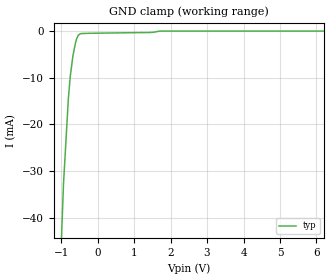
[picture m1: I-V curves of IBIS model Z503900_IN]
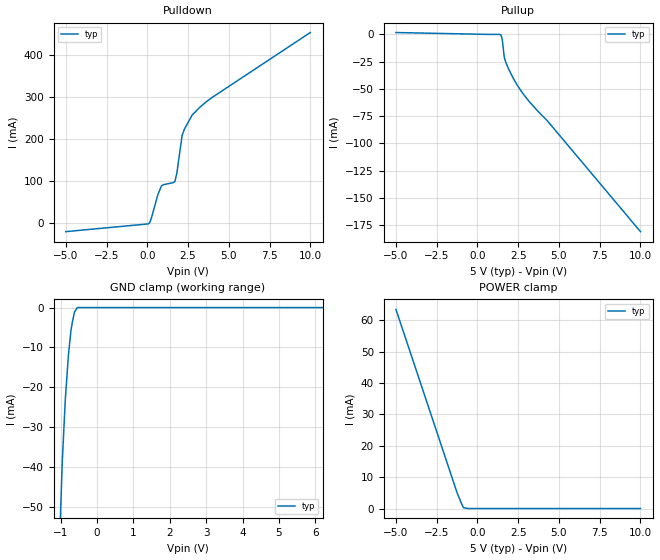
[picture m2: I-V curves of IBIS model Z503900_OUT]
| YOU ARE ONLY AUTHORIZED TO USE THIS SOFTWARE
| ACCORDING TO LICENSOR'S LICENSE RESTRICTIONS.
[IBIS Ver] 3.1
[File Name] mc54f02j.ibs
[File Rev] 2.0
[Source] Measured and created by ICX Technology
[Date] Friday 7/14/00 9:08:02 AM
[Copyright]
| (C) COPYRIGHT 1993-2000
| MENTOR GRAPHICS CORPORATION
| ICX STANDARD LIBRARY, ICX PROJECT MODELING,
| ICX CUSTOM MODELING, ICX VENDOR MODEL
| ALL RIGHTS RESERVED.
| THE FOLLOWING ARE TRADEMARKS OR SERVICE MARKS OF
| MENTOR GRAPHICS CORPORATION:ICX (R), ICX STANDARD
| LIBRARY(R), ICX PROJECT MODELING(R), ICX CUSTOM
| MODELING(R), qualityIBIS(TM), MODELVIEWER(TM),
| AND MODELEDITOR(TM)
| ALL COPIES OF SOFTWARE, INCLUDING BUT NOT LIMITED TO
| ANY MODIFICATIONS, ENHANCEMENTS OR DERIVATIVE WORKS,
| MUST CONTAIN ALL MENTOR GRAPHICS CORPORATION'S
| NOTICES AND LEGENDS, INCLUDING THOSE EMBEDDED IN
| SOFTWARE AND THOSE AFFIXED TO SOFTWARE MEDIUM
| AND CONTAINER, AS RECEIVED FROM MENTOR GRAPHICS
| CORPORATION.
|  ZAP Model Builder 2.7
[Component] MC54F02J
[Manufacturer] OnSemiconductor
[Package]
| variable   typ   min   max
R_pkg  .21ohms NA NA
L_pkg  4.543nH NA NA
C_pkg  1.8pF NA NA
[Pin] signal_name  model_name  R_pin  L_pin C_pin
1 Y Z503900_OUT .22 6.757n 2.434p
2 A Z503900_IN .212 4.757n 1.941p
3 B Z503900_IN .204 3.257n 1.448p
4 Y Z503900_OUT .196 2.257n .955p
5 A Z503900_IN .204 3.257n 1.448p
6 B Z503900_IN .212 4.757n 1.941p
7 GROUND GND .22 6.757n 2.434p
8 A Z503900_IN .22 6.757n 2.434p
9 B Z503900_IN .212 4.757n 1.941p
10 Y Z503900_OUT .204 3.257n 1.448p
11 A Z503900_IN .196 2.257n .955p
12 B Z503900_IN .204 3.257n 1.448p
13 Y Z503900_OUT .212 4.757n 1.941p
14 VCC POWER .22 6.757n 2.434p
| Models and submodels in the file (2): Z503900_IN (Input), Z503900_OUT (Output)
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| (C) COPYRIGHT 1993-2000
| MENTOR GRAPHICS CORPORATION
| ICX STANDARD LIBRARY, ICX PROJECT MODELING,
| ICX CUSTOM MODELING, ICX VENDOR MODEL
| ALL RIGHTS RESERVED.
| THE FOLLOWING ARE TRADEMARKS OR SERVICE MARKS OF
| MENTOR GRAPHICS CORPORATION:ICX (R), ICX STANDARD
| LIBRARY(R), ICX PROJECT MODELING(R), ICX CUSTOM
| MODELING(R), qualityIBIS(TM), MODELVIEWER(TM),
| AND MODELEDITOR(TM)
| ALL COPIES OF SOFTWARE, INCLUDING BUT NOT LIMITED TO
| ANY MODIFICATIONS, ENHANCEMENTS OR DERIVATIVE WORKS,
| MUST CONTAIN ALL MENTOR GRAPHICS CORPORATION'S
| NOTICES AND LEGENDS, INCLUDING THOSE EMBEDDED IN
| SOFTWARE AND THOSE AFFIXED TO SOFTWARE MEDIUM
| AND CONTAINER, AS RECEIVED FROM MENTOR GRAPHICS
| CORPORATION.
| Model Application Version 1.89 2/18/99.
[Model] Z503900_IN
Model_type Input
Vinl = 800.0mV
Vinh = 2.000V
C_comp 4.000pF NA NA
| variable typ   min   max
[Voltage Range] 5.000V NA NA
[GND Clamp Reference] 0.000V NA NA
[POWER Clamp Reference] 5.000V NA NA
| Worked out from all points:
|   GND clamp passes 1 mA (typ) near -0.53 V on its own axis
[GND Clamp]
-5V       -893.6mA   NA         NA
-934.9mV  -32.79mA   NA         NA
-802mV    -14.52mA   NA         NA
-749.9mV  -9.771mA   NA         NA
-677.1mV  -5.339mA   NA         NA
-604.5mV  -2.49mA    NA         NA
-575mV    -1.663mA   NA         NA
-523.9mV  -840.8uA   NA         NA
-463.2mV  -541.8uA   NA         NA
1.429V    -306.9uA   NA         NA
1.782V    -5.773uA   NA         NA
10V       -5.773uA   NA         NA
[POWER Clamp]
-5V       0A         NA         NA
10V       0A         NA         NA
| (C) COPYRIGHT 1993-2000
| MENTOR GRAPHICS CORPORATION
| ICX STANDARD LIBRARY, ICX PROJECT MODELING,
| ICX CUSTOM MODELING, ICX VENDOR MODEL
| ALL RIGHTS RESERVED.
| THE FOLLOWING ARE TRADEMARKS OR SERVICE MARKS OF
| MENTOR GRAPHICS CORPORATION:ICX (R), ICX STANDARD
| LIBRARY(R), ICX PROJECT MODELING(R), ICX CUSTOM
| MODELING(R), qualityIBIS(TM), MODELVIEWER(TM),
| AND MODELEDITOR(TM)
| ALL COPIES OF SOFTWARE, INCLUDING BUT NOT LIMITED TO
| ANY MODIFICATIONS, ENHANCEMENTS OR DERIVATIVE WORKS,
| MUST CONTAIN ALL MENTOR GRAPHICS CORPORATION'S
| NOTICES AND LEGENDS, INCLUDING THOSE EMBEDDED IN
| SOFTWARE AND THOSE AFFIXED TO SOFTWARE MEDIUM
| AND CONTAINER, AS RECEIVED FROM MENTOR GRAPHICS
| CORPORATION.
| Model Application Version 1.89 2/18/99.
[Model] Z503900_OUT
Model_type Output
Vref=0.000V
Rref=500.0ohms
Cref=50.00pF
Vmeas=1.500V
C_comp 8.000pF NA NA
| variable typ   min   max
[Voltage Range] 5.000V NA NA
[POWER Clamp Reference] 5.000V NA NA
[Pullup Reference] 5.000V NA NA
[Pulldown Reference] 0.000V NA NA
[GND Clamp Reference] 0.000V NA NA
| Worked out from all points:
|   slope of the pulldown table from 0 to 0.75 V, typ, clamps not added: 9.46 ohm
|   slope of the pullup table from 0 to 0.75 V, typ, clamps not added: 4.11 kohm
|   GND clamp passes 1 mA (typ) near -0.62 V on its own axis
|   POWER clamp passes 1 mA (typ) near -0.93 V on its own axis
[GND Clamp]
-5V       -2.098A    NA         NA
-1.07V    -69.15mA   NA         NA
-961.6mV  -39.11mA   NA         NA
-877.5mV  -23.27mA   NA         NA
-791.2mV  -12.01mA   NA         NA
-721.2mV  -5.805mA   NA         NA
-679.6mV  -3.549mA   NA         NA
-624.3mV  -1.112mA   NA         NA
-546.3mV  0A         NA         NA
10V       0A         NA         NA
[Pulldown]
-5V       -19.87mA   NA         NA
87.7mV    -860.4uA   NA         NA
254.2mV   12.45mA    NA         NA
651mV     68.28mA    NA         NA
870.8mV   89.05mA    NA         NA
1.699V    99.78mA    NA         NA
1.815V    119.2mA    NA         NA
2.136V    209mA      NA         NA
2.279V    224.3mA    NA         NA
2.761V    258.1mA    NA         NA
4.015V    300.6mA    NA         NA
10V       454.2mA    NA         NA
[Pullup]
-5V       1.665mA    NA         NA
1.439V    -697.6uA   NA         NA
1.477V    -1.88mA    NA         NA
1.535V    -6.259mA   NA         NA
1.636V    -20.04mA   NA         NA
1.733V    -25.33mA   NA         NA
1.903V    -31.52mA   NA         NA
2.194V    -40.23mA   NA         NA
2.717V    -52.79mA   NA         NA
3.127V    -60.75mA   NA         NA
4.268V    -78.89mA   NA         NA
10V       -180.8mA   NA         NA
[POWER Clamp]
-5V       63.44mA    NA         NA
-1.25V    5.055mA    NA         NA
-950mV    1.226mA    NA         NA
-854mV    266.4uA    NA         NA
-569.3mV  0A         NA         NA
10V       0A         NA         NA
[Ramp]
| variable typ min max
dV/dt_r 2.014/4.589n NA NA
dV/dt_f 2.014/432.5p NA NA
R_load = 500.0Ohms
